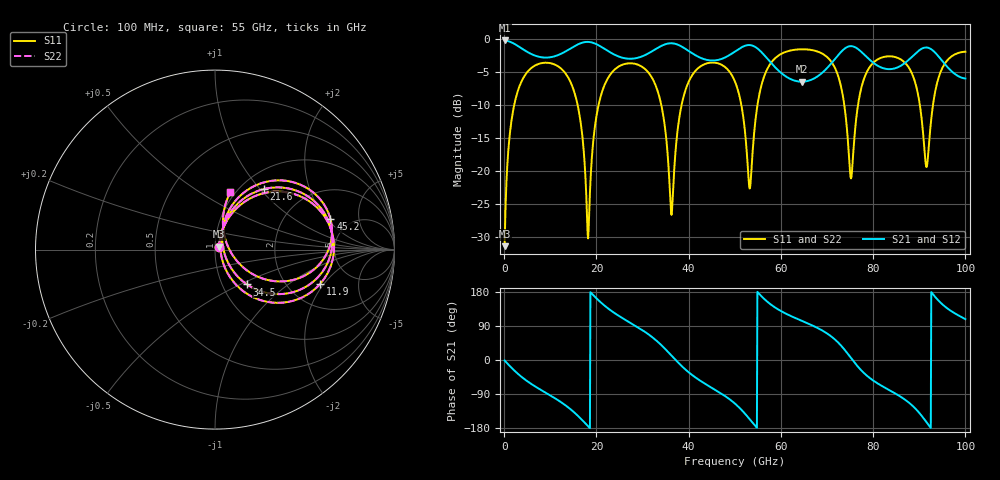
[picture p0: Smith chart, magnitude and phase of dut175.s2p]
! Touchstone file exported from HFSS 2026.1.0
!  File:  C:/ffzhzh/LocalFiles/Ansys_Project_Files/temp_train_TSV_RDL_175_1783651809_26216.aedt
!  Generated:  11:00:02 AM Jul 10, 2026
!  Design:  TSV_RDL
!  Project:  temp_train_TSV_RDL_175_1783651809_26216
! Variables:
!  h_bsmrdl = 4.81um
!  h_ox = 20um
!  h_rdl = 5um
!  h_sub = 59.95um
!  h_tmrdl = 3.21um
!  h_tsv = 59.95um
!  h_via = 3um
!  l_bsmrdl = 522.54um
!  l_sub = 3334.16um
!  l_tmrdl = 320.62um
!  m_sub = 200um
!  pitch = 57.71um
!  r_tsv = 8.69um
!  s_tmrdl = 10um
!  w_bsmrdl = 17.94um
!  w_sub = 500um
!  w_tmrdl = 10.08um
!  x_tsv_center1 = 325.66um
!  x_tsv_center2 = 866.14um
!  x_tsv_center3 = 1196.84um
!  x_tsv_center4 = 1737.32um
!  x_tsv_center5 = 2068.02um
!  x_tsv_center6 = 2608.5um
# GHz S MA R 50.000000
! Terminal data exported
! Port[1] = TM_RDL1_1_T1
! Port[2] = TM_RDL5_1_T1
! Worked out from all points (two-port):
!   1000 points, 100 MHz to 100 GHz, reference 50 ohm
!   highest |S21| = -0.19 dB at 100 MHz (marker M1); lowest = -6.4 dB at 64.5 GHz (marker M2)
!   |S21| within 3 dB of the highest: start of sweep to 44.37 GHz; 45.99 GHz to 57.36 GHz (11.38 GHz wide, 22 % of centre) (the widest 2 of 4)
!   lowest |S11| = -31.4 dB at 100 MHz (marker M3), VSWR 1.06, Z = 52.2 + j1.66 ohm
!   |S11| at or under -10 dB: 15.94 GHz to 20.46 GHz (4.526 GHz wide, 24.9 % of centre); 34.08 GHz to 38.46 GHz (4.387 GHz wide, 12.1 % of centre); 51.43 GHz to 54.91 GHz (3.483 GHz wide, 6.55 % of centre) (the widest 3 of 6)
!   |S22| runs from -31.4 to -1.5 dB; largest |S21 - S12| = 1.7e-13
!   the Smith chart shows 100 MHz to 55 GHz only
!   S11 on the Smith chart (normalised r, x): 100 MHz: 1.04, +0.03; 11.9 GHz: 2.98, -1.84; 21.6 GHz: 1.27, +1.05; 34.5 GHz: 1.31, -0.54; 45.2 GHz: 3.57, +2.18; 55 GHz: 0.95, +0.68
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0.1  0.02699 36.0  0.9784 -1.3  0.9784 -1.3  0.02699 36.0
! Gamma 0 0 0 0
! Port Impedance 50 0 50 0
3.2  0.4282 47.9  0.8782 -38.7  0.8782 -38.7  0.4282 47.9
11.9  0.6159 -18.1  0.7631 -107.8  0.7631 -107.8  0.6159 -18.1
16.8  0.2054 -60.1  0.938 -157.0  0.938 -157.0  0.2053 -60.3
18.2  0.03092 7.1  0.9538 -174.7  0.9538 -174.7  0.03012 7.1
21.6  0.4345 50.9  0.852 145.2  0.852 145.2  0.4344 51.0
33.4  0.3921 -38.6  0.8635 46.9  0.8635 46.9  0.3921 -38.6
34.5  0.2634 -47.4  0.9035 34.2  0.9035 34.2  0.2633 -47.5
36.3  0.04659 14.9  0.9315 11.4  0.9315 11.4  0.04625 15.0
39.2  0.3995 59.7  0.8496 -24.0  0.8496 -24.0  0.3995 59.8
45.2  0.6653 14.8  0.6894 -74.7  0.6894 -74.7  0.6653 14.8
50.1  0.4719 -20.8  0.809 -115.7  0.809 -115.7  0.4718 -20.8
53.2  0.07384 16.2  0.9029 -155.7  0.9029 -155.7  0.07353 16.2
55  0.3302 74.9  0.8461 178.5  0.8461 178.5  0.3302 75.0
64.5  0.8391 12.7  0.4762 103.6  0.4762 103.6  0.8391 12.7
66.7  0.8274 2.1  0.4943 91.8  0.4943 91.8  0.8274 2.1
72.3  0.5403 -35.7  0.7491 47.5  0.7491 47.5  0.5404 -35.7
75.2  0.08792 5.3  0.8861 5.3  0.8861 5.3  0.08901 5.3
78  0.4991 47.9  0.7685 -34.3  0.7685 -34.3  0.4992 47.7
83.4  0.7422 10.8  0.5928 -78.8  0.5928 -78.8  0.7422 10.6
92  0.1435 49.8  0.8597 -171.1  0.8597 -171.1  0.1416 50.5
100  0.8042 17.1  0.5035 107.8  0.5035 107.8  0.8042 17.2
